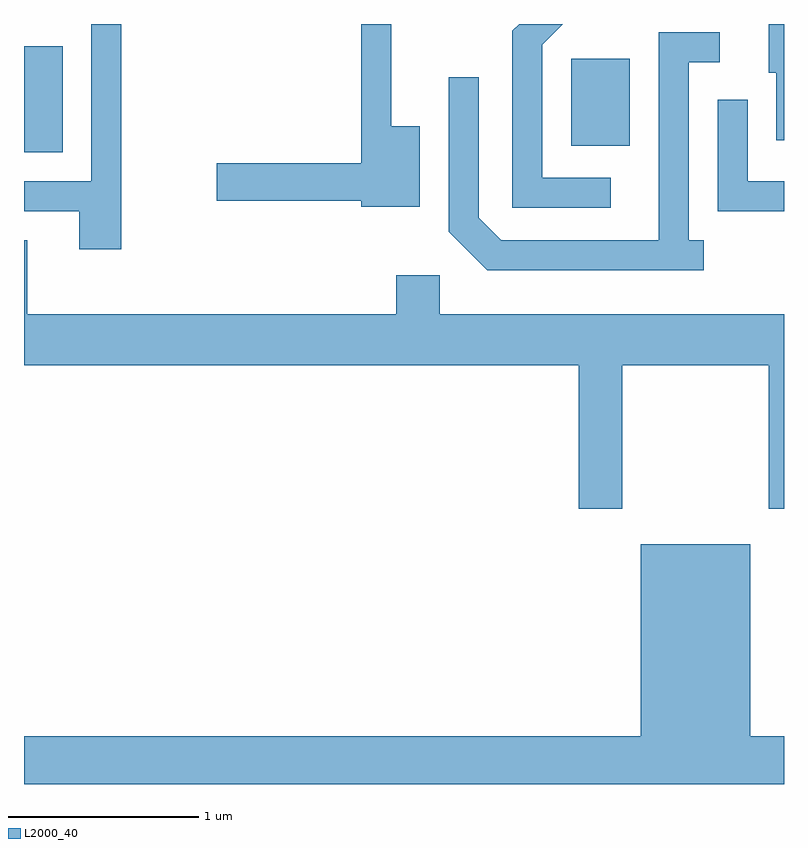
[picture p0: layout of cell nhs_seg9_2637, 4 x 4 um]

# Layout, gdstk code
import gdstk
lib = gdstk.Library(unit=1e-6, precision=1e-09)
def R(c, l, rs):  # rectangles x0, y0, x1, y1
    for r in rs: c.add(gdstk.rectangle(r[:2], r[2:], *l))
def P(c, l, *ps):  # polygons
    for p in ps: c.add(gdstk.Polygon(p, *l))
L2000_40 = (2000, 40)

nhs_seg9_2637 = lib.new_cell('nhs_seg9_2637')
R(nhs_seg9_2637, L2000_40, [(261.611,2061.756,261.814,2062.314), (264.491,2061.791,264.799,2062.249)])
P(nhs_seg9_2637, L2000_40, [(262.124,2062.432),(261.966,2062.432),(261.966,2061.604),(261.611,2061.604),(261.611,2061.446),(261.901,2061.446),(261.901,2061.246),(262.124,2061.246)],
  [(264.698,2061.624),(264.339,2061.624),(264.339,2062.324),(264.447,2062.432),(264.217,2062.432),(264.181,2062.396),(264.181,2061.466),(264.698,2061.466)],
  [(265.611,2062.432),(265.531,2062.432),(265.531,2062.176),(265.571,2062.176),(265.571,2061.821),(265.611,2061.821)],
  [(263.694,2061.894),(263.544,2061.894),(263.544,2062.432),(263.386,2062.432),(263.386,2061.699),(262.626,2061.699),(262.626,2061.501),(263.386,2061.501),(263.386,2061.471),(263.694,2061.471)],
  [(265.188,2061.294),(265.109,2061.294),(265.109,2062.231),(265.273,2062.231),(265.273,2062.389),(264.951,2062.389),(264.951,2061.294),(264.122,2061.294),(264.004,2061.412),(264.004,2062.153),(263.846,2062.153),(263.846,2061.338),(264.049,2061.136),(265.188,2061.136)],
  [(265.611,2061.604),(265.419,2061.604),(265.419,2062.033),(265.261,2062.033),(265.261,2061.446),(265.611,2061.446)],
  [(264.759,2060.636),(265.531,2060.636),(265.531,2059.881),(265.611,2059.881),(265.611,2060.904),(263.799,2060.904),(263.799,2061.109),(263.571,2061.109),(263.571,2060.904),(261.629,2060.904),(261.629,2061.294),(261.611,2061.294),(261.611,2060.636),(264.531,2060.636),(264.531,2059.881),(264.759,2059.881)],
  [(265.611,2058.684),(265.434,2058.684),(265.434,2059.694),(264.856,2059.694),(264.856,2058.684),(261.611,2058.684),(261.611,2058.432),(265.611,2058.432)])

lib.write_gds('nhs_seg9_2637.gds')
